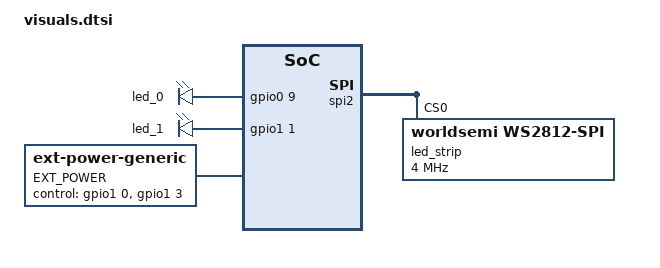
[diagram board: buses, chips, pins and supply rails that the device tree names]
#include <dt-bindings/spi/spi.h>

/ {
	aliases {
		led-strip = &led_strip;
	};

	chosen {
		zmk,underglow = &led_strip;
//		zmk,backlight = &backlight;
	};

	leds {
		compatible = "gpio-leds";

		led_0 {
			gpios = <&gpio0 9 GPIO_ACTIVE_HIGH>;
		};

		led_1 {
			gpios = <&gpio1 1 GPIO_ACTIVE_HIGH>;
		};
	};

//	backlight: pwmleds {
//		compatible = "pwm-leds";
//
//		pwm_led_0 {
//			pwms = <&pwm0 0 PWM_MSEC(10) PWM_POLARITY_NORMAL>;
//		};
//	};

	EXT_POWER: EXT_POWER {
		compatible = "zmk,ext-power-generic";
		control-gpios = <&gpio1 0 GPIO_ACTIVE_HIGH>, <&gpio1 3 GPIO_ACTIVE_HIGH>;
		init-delay-ms = <10>;
	};
};

//&pwm0 {
//	status = "okay";
//	pinctrl-0 = <&pwm0_default>;
//	pinctrl-1 = <&pwm0_sleep>;
//	pinctrl-names = "default", "sleep";
//};

&spi2 {
	compatible = "nordic,nrf-spim";
	status = "okay";
	pinctrl-0 = <&spi2_default>;
	pinctrl-1 = <&spi2_sleep>;
	pinctrl-names = "default", "sleep";

	led_strip: ws2812@0 {
		compatible = "worldsemi,ws2812-spi";
		reg = <0>;
		chain-length = <16>;
		spi-max-frequency = <4000000>;
		spi-one-frame = <0x70>;
		spi-zero-frame = <0x40>;
		spi-cpha;
		color-mapping =
			<
				LED_COLOR_ID_GREEN
				LED_COLOR_ID_RED
				LED_COLOR_ID_BLUE
			>;
	};
};
